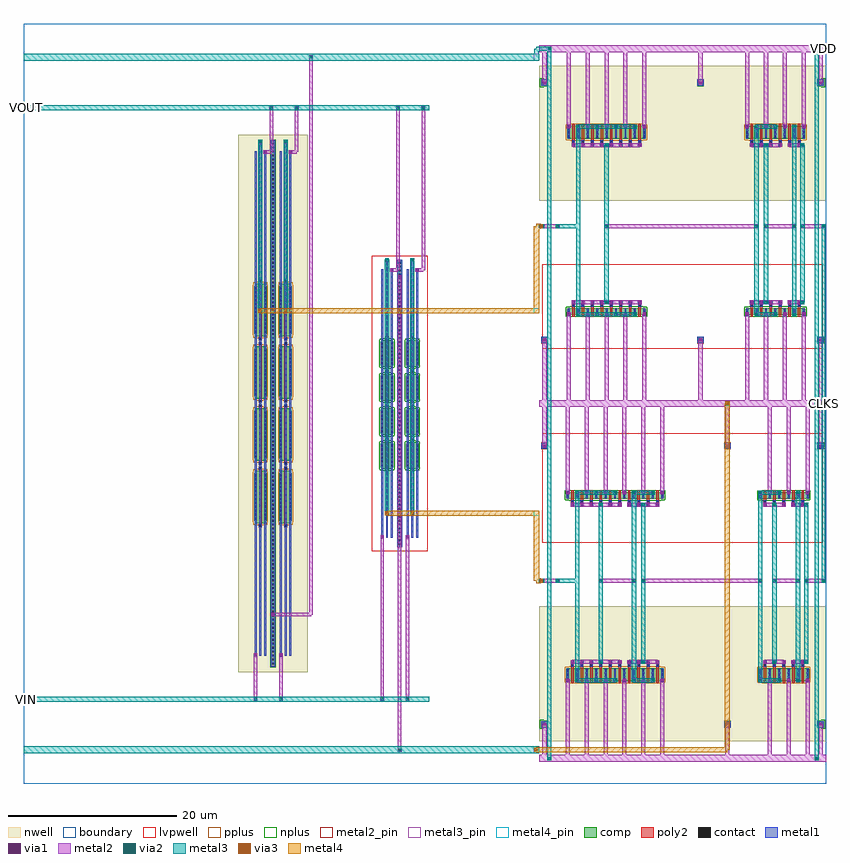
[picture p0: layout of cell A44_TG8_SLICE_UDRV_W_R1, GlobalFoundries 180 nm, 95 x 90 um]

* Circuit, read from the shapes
.subckt A44_TG8_SLICE_UDRV_W_R1 CLKS GND VDD VIN VOUT
XM1 VOUT A44_TG8_CORE_W_R2_1/N_CLK VIN GND nfet_03v3 w=3.11u l=0.28u m=8
XM2 A44_TG8_CORE_W_R2_1/N_CLK A44_TGCLK_DRIVER_UDRV_W_R1_0/A44_TGDRV_NCLK_ROW_W_R1_0/net3 GND GND nfet_03v3 w=0.78u l=0.28u m=6
XM3 A44_TG8_CORE_W_R2_1/P_CLK A44_TGCLK_DRIVER_UDRV_W_R1_0/A44_TGDRV_PCLK_ROW_W_R1_1/net5 GND GND nfet_03v3 w=0.78u l=0.28u m=8
XM4 A44_TGCLK_DRIVER_UDRV_W_R1_0/A44_TGDRV_NCLK_ROW_W_R1_0/net3 A44_TGCLK_DRIVER_UDRV_W_R1_0/A44_TGDRV_NCLK_ROW_W_R1_0/net2 GND GND nfet_03v3 w=0.78u l=0.28u m=4
XM5 A44_TGCLK_DRIVER_UDRV_W_R1_0/A44_TGDRV_PCLK_ROW_W_R1_1/net5 A44_TGCLK_DRIVER_UDRV_W_R1_0/A44_TGDRV_PCLK_ROW_W_R1_1/net4 GND GND nfet_03v3 w=0.78u l=0.28u m=4
XM6 GND A44_TGCLK_DRIVER_UDRV_W_R1_0/A44_TGDRV_NCLK_ROW_W_R1_0/net1 A44_TGCLK_DRIVER_UDRV_W_R1_0/A44_TGDRV_NCLK_ROW_W_R1_0/net2 GND nfet_03v3 w=0.78u l=0.28u m=3
XM7 A44_TGCLK_DRIVER_UDRV_W_R1_0/A44_TGDRV_PCLK_ROW_W_R1_1/net4 CLKS GND GND nfet_03v3 w=0.78u l=0.28u m=2
XM8 A44_TGCLK_DRIVER_UDRV_W_R1_0/A44_TGDRV_NCLK_ROW_W_R1_0/net1 CLKS GND GND nfet_03v3 w=0.78u l=0.28u m=2
XM9 VOUT A44_TG8_CORE_W_R2_1/P_CLK VIN VDD pfet_03v3 w=6.22u l=0.28u m=8
XM10 A44_TG8_CORE_W_R2_1/N_CLK A44_TGCLK_DRIVER_UDRV_W_R1_0/A44_TGDRV_NCLK_ROW_W_R1_0/net3 VDD VDD pfet_03v3 w=1.56u l=0.28u m=6
XM11 A44_TG8_CORE_W_R2_1/P_CLK A44_TGCLK_DRIVER_UDRV_W_R1_0/A44_TGDRV_PCLK_ROW_W_R1_1/net5 VDD VDD pfet_03v3 w=1.56u l=0.28u m=8
XM12 A44_TGCLK_DRIVER_UDRV_W_R1_0/A44_TGDRV_NCLK_ROW_W_R1_0/net3 A44_TGCLK_DRIVER_UDRV_W_R1_0/A44_TGDRV_NCLK_ROW_W_R1_0/net2 VDD VDD pfet_03v3 w=1.56u l=0.28u m=4
XM13 A44_TGCLK_DRIVER_UDRV_W_R1_0/A44_TGDRV_PCLK_ROW_W_R1_1/net5 A44_TGCLK_DRIVER_UDRV_W_R1_0/A44_TGDRV_PCLK_ROW_W_R1_1/net4 VDD VDD pfet_03v3 w=1.56u l=0.28u m=4
XM14 VDD A44_TGCLK_DRIVER_UDRV_W_R1_0/A44_TGDRV_NCLK_ROW_W_R1_0/net1 A44_TGCLK_DRIVER_UDRV_W_R1_0/A44_TGDRV_NCLK_ROW_W_R1_0/net2 VDD pfet_03v3 w=1.56u l=0.28u m=3
XM15 A44_TGCLK_DRIVER_UDRV_W_R1_0/A44_TGDRV_PCLK_ROW_W_R1_1/net4 CLKS VDD VDD pfet_03v3 w=1.56u l=0.28u m=2
XM16 A44_TGCLK_DRIVER_UDRV_W_R1_0/A44_TGDRV_NCLK_ROW_W_R1_0/net1 CLKS VDD VDD pfet_03v3 w=1.56u l=0.28u m=2
.ends

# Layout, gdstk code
import gdstk
lib = gdstk.Library(unit=1e-6, precision=1e-09)
def R(c, l, rs):  # rectangles x0, y0, x1, y1
    for r in rs: c.add(gdstk.rectangle(r[:2], r[2:], *l))
def A(c, l, x, y, w, h, nx, ny, dx, dy):  # array of equal rectangles
    R(c, l, [(x+i*dx, y+j*dy, x+i*dx+w, y+j*dy+h) for i in range(nx) for j in range(ny)])
boundary = (0, 0)
nwell = (21, 0)
comp = (22, 0)
poly2 = (30, 0)
pplus = (31, 0)
nplus = (32, 0)
contact = (33, 0)
metal1 = (34, 0)
via1 = (35, 0)
metal2 = (36, 0)
metal2_pin = (36, 10)
via2 = (38, 0)
via3 = (40, 0)
metal3 = (42, 0)
metal3_pin = (42, 10)
metal4 = (46, 0)
metal4_pin = (46, 10)
lvpwell = (204, 0)

pfet_03v3_pucbrs = lib.new_cell('pfet_03v3_PUCBRS')
R(pfet_03v3_pucbrs, nwell, [(-6.21,-1.55,6.21,1.55)])
R(pfet_03v3_pucbrs, comp, [(-5.715,-0.9,5.715,-0.83), (-5.78,-0.83,5.78,0.59), (-5.715,0.59,5.715,0.66)])
A(pfet_03v3_pucbrs, poly2, -5.18, -1.12, 0.28, 1.88, 10, 1, 1.12, 0)
A(pfet_03v3_pucbrs, poly2, -5.22, 0.76, 0.36, 0.36, 10, 1, 1.12, 0)
R(pfet_03v3_pucbrs, pplus, [(-5.41,-1.13,5.41,-1.06), (-5.875,-1.06,5.875,-0.99), (-5.94,-0.99,5.94,0.75), (-5.875,0.75,5.875,0.82), (-5.41,0.82,5.41,0.89)])
A(pfet_03v3_pucbrs, contact, -5.71, -0.7, 0.22, 0.22, 11, 3, 1.12, 0.47)
A(pfet_03v3_pucbrs, contact, -5.15, 0.83, 0.22, 0.22, 10, 1, 1.12, 0)
A(pfet_03v3_pucbrs, metal1, -5.715, -0.82, 0.23, 1.4, 11, 1, 1.12, 0)
A(pfet_03v3_pucbrs, metal1, -5.21, 0.825, 0.34, 0.23, 10, 1, 1.12, 0)

nfet_03v3_ytq48t = lib.new_cell('nfet_03v3_YTQ48T')
R(nfet_03v3_ytq48t, comp, [(-5.715,-0.27,5.715,-0.24), (-5.78,-0.24,5.78,0.48), (-5.715,0.48,5.715,0.51)])
A(nfet_03v3_ytq48t, poly2, -5.22, -0.73, 0.36, 0.36, 10, 1, 1.12, 0)
A(nfet_03v3_ytq48t, poly2, -5.18, -0.37, 0.28, 1.1, 10, 1, 1.12, 0)
R(nfet_03v3_ytq48t, nplus, [(-5.41,-0.5,5.41,-0.43), (-5.875,-0.43,5.875,-0.4), (-5.94,-0.4,5.94,0.64), (-5.875,0.64,5.875,0.67), (-5.41,0.67,5.41,0.74)])
A(nfet_03v3_ytq48t, contact, -5.15, -0.66, 0.22, 0.22, 10, 1, 1.12, 0)
A(nfet_03v3_ytq48t, contact, -5.71, 0.01, 0.22, 0.22, 11, 1, 1.12, 0)
A(nfet_03v3_ytq48t, metal1, -5.21, -0.665, 0.34, 0.23, 10, 1, 1.12, 0)
A(nfet_03v3_ytq48t, metal1, -5.715, -0.23, 0.23, 0.7, 11, 1, 1.12, 0)
R(nfet_03v3_ytq48t, lvpwell, [(-5.9,-0.85,5.9,0.85)])

pfet_03v3_ttayz7 = lib.new_cell('pfet_03v3_TTAYZ7')
R(pfet_03v3_ttayz7, nwell, [(-3.41,-1.55,3.41,1.55)])
R(pfet_03v3_ttayz7, comp, [(-2.915,-0.9,2.915,-0.83), (-2.98,-0.83,2.98,0.59), (-2.915,0.59,2.915,0.66)])
A(pfet_03v3_ttayz7, poly2, -2.38, -1.12, 0.28, 1.88, 5, 1, 1.12, 0)
A(pfet_03v3_ttayz7, poly2, -2.42, 0.76, 0.36, 0.36, 5, 1, 1.12, 0)
R(pfet_03v3_ttayz7, pplus, [(-2.61,-1.13,2.61,-1.06), (-3.075,-1.06,3.075,-0.99), (-3.14,-0.99,3.14,0.75), (-3.075,0.75,3.075,0.82), (-2.61,0.82,2.61,0.89)])
A(pfet_03v3_ttayz7, contact, -2.91, -0.7, 0.22, 0.22, 6, 3, 1.12, 0.47)
A(pfet_03v3_ttayz7, contact, -2.35, 0.83, 0.22, 0.22, 5, 1, 1.12, 0)
A(pfet_03v3_ttayz7, metal1, -2.915, -0.82, 0.23, 1.4, 6, 1, 1.12, 0)
A(pfet_03v3_ttayz7, metal1, -2.41, 0.825, 0.34, 0.23, 5, 1, 1.12, 0)

nfet_03v3_ytz44f = lib.new_cell('nfet_03v3_YTZ44F')
R(nfet_03v3_ytz44f, comp, [(-2.915,-0.27,2.915,-0.24), (-2.98,-0.24,2.98,0.48), (-2.915,0.48,2.915,0.51)])
A(nfet_03v3_ytz44f, poly2, -2.42, -0.73, 0.36, 0.36, 5, 1, 1.12, 0)
A(nfet_03v3_ytz44f, poly2, -2.38, -0.37, 0.28, 1.1, 5, 1, 1.12, 0)
R(nfet_03v3_ytz44f, nplus, [(-2.61,-0.5,2.61,-0.43), (-3.075,-0.43,3.075,-0.4), (-3.14,-0.4,3.14,0.64), (-3.075,0.64,3.075,0.67), (-2.61,0.67,2.61,0.74)])
A(nfet_03v3_ytz44f, contact, -2.35, -0.66, 0.22, 0.22, 5, 1, 1.12, 0)
A(nfet_03v3_ytz44f, contact, -2.91, 0.01, 0.22, 0.22, 6, 1, 1.12, 0)
A(nfet_03v3_ytz44f, metal1, -2.41, -0.665, 0.34, 0.23, 5, 1, 1.12, 0)
A(nfet_03v3_ytz44f, metal1, -2.915, -0.23, 0.23, 0.7, 6, 1, 1.12, 0)
R(nfet_03v3_ytz44f, lvpwell, [(-3.1,-0.85,3.1,0.85)])

a44_tgdrv_nclk_row_w_r1 = lib.new_cell('A44_TGDRV_NCLK_ROW_W_R1')
R(a44_tgdrv_nclk_row_w_r1, boundary, [(0,0,34,90)])
R(a44_tgdrv_nclk_row_w_r1, nwell, [(0,5,34,21)])
R(a44_tgdrv_nclk_row_w_r1, comp, [(0.27,6.62,1.03,7.38), (21.935,6.62,22.695,7.38), (32.97,6.62,33.73,7.38), (0.27,39.62,1.03,40.38), (21.935,39.62,22.695,40.38), (32.97,39.62,33.73,40.38)])
R(a44_tgdrv_nclk_row_w_r1, pplus, [(0.245,39.595,1.055,40.405), (21.91,39.595,22.72,40.405), (32.945,39.595,33.755,40.405)])
R(a44_tgdrv_nclk_row_w_r1, nplus, [(0.11,6.46,0.59,6.595), (33.41,6.46,33.89,6.595), (0.11,6.595,1.055,7.405), (21.91,6.595,22.72,7.405), (32.945,6.595,33.89,7.405), (0.11,7.405,0.59,7.54), (33.41,7.405,33.89,7.54)])
R(a44_tgdrv_nclk_row_w_r1, contact, [(0.54,6.89,0.76,7.11), (22.205,6.89,22.425,7.11), (33.24,6.89,33.46,7.11), (0.54,39.89,0.76,40.11), (22.205,39.89,22.425,40.11), (33.24,39.89,33.46,40.11)])
A(a44_tgdrv_nclk_row_w_r1, metal1, 3.18, 11.99, 0.44, 0.44, 11, 2, 1.12, 22.235)
A(a44_tgdrv_nclk_row_w_r1, metal1, 25.98, 11.99, 0.44, 0.44, 6, 2, 1.12, 22.235)
A(a44_tgdrv_nclk_row_w_r1, metal1, 3.79, 13.94, 0.34, 0.24, 10, 1, 1.12, 0)
A(a44_tgdrv_nclk_row_w_r1, metal1, 26.59, 13.94, 0.34, 0.24, 5, 1, 1.12, 0)
A(a44_tgdrv_nclk_row_w_r1, metal1, 3.74, 14.18, 0.44, 0.44, 10, 2, 1.12, 18.6)
A(a44_tgdrv_nclk_row_w_r1, metal1, 26.54, 14.18, 0.44, 0.44, 5, 2, 1.12, 18.6)
A(a44_tgdrv_nclk_row_w_r1, metal1, 3.79, 33.22, 0.34, 0.23, 10, 1, 1.12, 0)
A(a44_tgdrv_nclk_row_w_r1, metal1, 26.59, 33.22, 0.34, 0.23, 5, 1, 1.12, 0)
R(a44_tgdrv_nclk_row_w_r1, metal1, [(0.27,6.62,1.03,7.38), (21.935,6.62,22.695,7.38), (32.97,6.62,33.73,7.38), (0.27,39.62,1.03,40.38), (21.935,39.62,22.695,40.38), (32.97,39.62,33.73,40.38)])
A(a44_tgdrv_nclk_row_w_r1, via1, 3.27, 12.08, 0.26, 0.26, 11, 2, 1.12, 22.235)
A(a44_tgdrv_nclk_row_w_r1, via1, 26.07, 12.08, 0.26, 0.26, 6, 2, 1.12, 22.235)
A(a44_tgdrv_nclk_row_w_r1, via1, 3.83, 14.27, 0.26, 0.26, 10, 2, 1.12, 18.6)
A(a44_tgdrv_nclk_row_w_r1, via1, 26.63, 14.27, 0.26, 0.26, 5, 2, 1.12, 18.6)
R(a44_tgdrv_nclk_row_w_r1, via1, [(0.52,6.87,0.78,7.13), (22.185,6.87,22.445,7.13), (33.22,6.87,33.48,7.13), (0.52,39.87,0.78,40.13), (22.185,39.87,22.445,40.13), (33.22,39.87,33.48,40.13)])
A(a44_tgdrv_nclk_row_w_r1, metal2, 3.16, 3.4, 0.48, 8.81, 6, 1, 2.24, 0)
A(a44_tgdrv_nclk_row_w_r1, metal2, 27.08, 3.4, 0.48, 8.81, 3, 1, 2.24, 0)
A(a44_tgdrv_nclk_row_w_r1, metal2, 4.28, 11.97, 0.48, 0.48, 5, 2, 2.24, 22.235)
A(a44_tgdrv_nclk_row_w_r1, metal2, 25.96, 11.97, 0.48, 0.48, 3, 2, 2.24, 22.235)
A(a44_tgdrv_nclk_row_w_r1, metal2, 3.18, 12.21, 0.44, 0.22, 6, 2, 2.24, 22.015)
A(a44_tgdrv_nclk_row_w_r1, metal2, 27.1, 12.21, 0.44, 0.22, 3, 2, 2.24, 22.015)
A(a44_tgdrv_nclk_row_w_r1, metal2, 3.16, 34.445, 0.48, 10.155, 6, 1, 2.24, 0)
A(a44_tgdrv_nclk_row_w_r1, metal2, 27.08, 34.445, 0.48, 10.155, 3, 1, 2.24, 0)
R(a44_tgdrv_nclk_row_w_r1, metal2, [(0,2.6,34,3.4), (0.41,3.4,0.89,7), (22.075,3.4,22.555,7), (33.11,3.4,33.59,7), (0.43,7,0.87,7.22), (22.095,7,22.535,7.22), (33.13,7,33.57,7.22), (3.96,14.16,9.56,14.18), (10.68,14.16,14.04,14.18), (26.76,14.16,29,14.18), (30.12,14.16,31.88,14.18), (3.74,14.18,9.78,14.62), (10.46,14.18,14.26,14.62), (26.54,14.18,29.22,14.62), (29.9,14.18,31.88,14.62), (3.96,14.62,9.56,14.64), (10.68,14.62,14.04,14.64), (26.76,14.62,29,14.64), (30.12,14.62,31.88,14.64), (7.08,23.76,11.48,24.24), (12.12,23.76,26.44,24.24), (27.64,23.76,30.92,24.24), (31.4,23.76,32.4,24.24), (3.96,32.76,9.56,32.78), (10.68,32.76,14.04,32.78), (26.76,32.76,29,32.78), (30.12,32.76,31.88,32.78), (3.74,32.78,9.78,33.22), (10.46,32.78,14.26,33.22), (26.54,32.78,29.22,33.22), (29.9,32.78,31.88,33.22), (3.96,33.22,9.56,33.24), (10.68,33.22,14.04,33.24), (26.76,33.22,29,33.24), (30.12,33.22,31.88,33.24), (0.43,39.78,0.87,40), (22.095,39.78,22.535,40), (33.13,39.78,33.57,40), (0.41,40,0.89,44.6), (22.075,40,22.555,44.6), (33.11,40,33.59,44.6), (0,44.6,34,45.4)])
A(a44_tgdrv_nclk_row_w_r1, via2, 4.39, 12.08, 0.26, 0.26, 5, 2, 2.24, 22.235)
A(a44_tgdrv_nclk_row_w_r1, via2, 26.07, 12.08, 0.26, 0.26, 3, 2, 2.24, 22.235)
R(a44_tgdrv_nclk_row_w_r1, via2, [(7.19,14.27,7.45,14.53), (12.23,14.27,12.49,14.53), (27.75,14.27,28.01,14.53), (31.51,14.27,31.77,14.53), (7.19,23.87,7.45,24.13), (11.11,23.87,11.37,24.13), (12.23,23.87,12.49,24.13), (26.07,23.87,26.33,24.13), (27.75,23.87,28.01,24.13), (30.55,23.87,30.81,24.13), (31.51,23.87,31.77,24.13), (7.19,32.87,7.45,33.13), (12.23,32.87,12.49,33.13), (27.75,32.87,28.01,33.13), (31.51,32.87,31.77,33.13)])
R(a44_tgdrv_nclk_row_w_r1, metal3, [(4.52,11.96,9,11.97), (11.24,11.96,13.48,11.97), (26.2,11.96,28.44,11.97), (4.28,11.97,9.24,12.21), (11,11.97,13.72,12.21), (25.96,11.97,28.68,12.21), (30.44,11.97,30.92,12.21), (4.27,12.21,9.24,12.45), (10.99,12.21,13.72,12.45), (25.95,12.21,28.68,12.45), (30.43,12.21,30.93,34.445), (4.27,12.45,9,12.46), (10.99,12.45,13.48,12.46), (25.95,12.45,28.44,12.46), (4.27,12.46,4.77,23.75), (10.99,12.46,11.49,34.195), (25.95,12.46,26.45,34.195), (7.08,14.16,7.56,14.4), (12.12,14.16,12.6,14.4), (27.64,14.16,28.12,14.4), (31.4,14.16,31.88,14.4), (7.07,14.4,7.57,33), (12.11,14.4,12.61,33), (27.63,14.4,28.13,33), (31.39,14.4,31.89,33), (2.2,23.75,4.77,24.25), (4.27,24.25,4.77,34.195), (7.08,33,7.56,33.24), (12.12,33,12.6,33.24), (27.64,33,28.12,33.24), (31.4,33,31.88,33.24), (4.27,34.195,9,34.205), (10.99,34.195,13.48,34.205), (25.95,34.195,28.44,34.205), (4.27,34.205,9.24,34.445), (10.99,34.205,13.72,34.445), (25.95,34.205,28.68,34.445), (4.28,34.445,9.24,34.685), (11,34.445,13.72,34.685), (25.96,34.445,28.68,34.685), (30.44,34.445,30.92,34.685), (4.52,34.685,9,34.695), (11.24,34.685,13.48,34.695), (26.2,34.685,28.44,34.695)])
R(a44_tgdrv_nclk_row_w_r1, lvpwell, [(0.4,28.5,33.6,41.5)])
a44_tgdrv_nclk_row_w_r1.add(gdstk.Reference(pfet_03v3_pucbrs, (9,13)))
a44_tgdrv_nclk_row_w_r1.add(gdstk.Reference(nfet_03v3_ytq48t, (9,34)))
a44_tgdrv_nclk_row_w_r1.add(gdstk.Reference(pfet_03v3_ttayz7, (29,13)))
a44_tgdrv_nclk_row_w_r1.add(gdstk.Reference(nfet_03v3_ytz44f, (29,34)))
a44_tgdrv_nclk_row_w_r1.add(gdstk.Label('net1', (29.28,24), layer=36, texttype=0))
a44_tgdrv_nclk_row_w_r1.add(gdstk.Label('net2', (19.28,24), layer=36, texttype=0))
a44_tgdrv_nclk_row_w_r1.add(gdstk.Label('net3', (9.28,24), layer=36, texttype=0))
a44_tgdrv_nclk_row_w_r1.add(gdstk.Label('CLKS', (32.35,24), layer=36, texttype=0))
a44_tgdrv_nclk_row_w_r1.add(gdstk.Label('VDD', (17,3), layer=36, texttype=0))
a44_tgdrv_nclk_row_w_r1.add(gdstk.Label('GND', (17,45), layer=36, texttype=0))
a44_tgdrv_nclk_row_w_r1.add(gdstk.Label('CLKS', (31.64,23.7), layer=42, texttype=0))
a44_tgdrv_nclk_row_w_r1.add(gdstk.Label('net1', (30.68,23.325), layer=42, texttype=0))
a44_tgdrv_nclk_row_w_r1.add(gdstk.Label('net1', (27.88,23.7), layer=42, texttype=0))
a44_tgdrv_nclk_row_w_r1.add(gdstk.Label('net2', (26.2,23.325), layer=42, texttype=0))
a44_tgdrv_nclk_row_w_r1.add(gdstk.Label('net2', (12.36,23.7), layer=42, texttype=0))
a44_tgdrv_nclk_row_w_r1.add(gdstk.Label('net3', (11.24,23.325), layer=42, texttype=0))
a44_tgdrv_nclk_row_w_r1.add(gdstk.Label('net3', (7.32,23.7), layer=42, texttype=0))
a44_tgdrv_nclk_row_w_r1.add(gdstk.Label('N_CLK', (4.52,23.325), layer=42, texttype=0))
a44_tgdrv_nclk_row_w_r1.add(gdstk.Label('N_CLK', (2.25,24), layer=42, texttype=0))

pfet_03v3_fkha32 = lib.new_cell('pfet_03v3_FKHA32')
R(pfet_03v3_fkha32, nwell, [(-5.09,-1.55,5.09,1.55)])
R(pfet_03v3_fkha32, comp, [(-4.595,-0.66,4.595,-0.59), (-4.66,-0.59,4.66,0.83), (-4.595,0.83,4.595,0.9)])
A(pfet_03v3_fkha32, poly2, -4.1, -1.12, 0.36, 0.36, 8, 1, 1.12, 0)
A(pfet_03v3_fkha32, poly2, -4.06, -0.76, 0.28, 1.88, 8, 1, 1.12, 0)
R(pfet_03v3_fkha32, pplus, [(-4.29,-0.89,4.29,-0.82), (-4.755,-0.82,4.755,-0.75), (-4.82,-0.75,4.82,0.99), (-4.755,0.99,4.755,1.06), (-4.29,1.06,4.29,1.13)])
A(pfet_03v3_fkha32, contact, -4.03, -1.05, 0.22, 0.22, 8, 1, 1.12, 0)
A(pfet_03v3_fkha32, contact, -4.59, -0.46, 0.22, 0.22, 9, 3, 1.12, 0.47)
A(pfet_03v3_fkha32, metal1, -4.09, -1.055, 0.34, 0.23, 8, 1, 1.12, 0)
A(pfet_03v3_fkha32, metal1, -4.595, -0.58, 0.23, 1.4, 9, 1, 1.12, 0)

nfet_03v3_ge79xy = lib.new_cell('nfet_03v3_GE79XY')
R(nfet_03v3_ge79xy, comp, [(-4.595,-0.51,4.595,-0.48), (-4.66,-0.48,4.66,0.24), (-4.595,0.24,4.595,0.27)])
A(nfet_03v3_ge79xy, poly2, -4.06, -0.73, 0.28, 1.1, 8, 1, 1.12, 0)
A(nfet_03v3_ge79xy, poly2, -4.1, 0.37, 0.36, 0.36, 8, 1, 1.12, 0)
R(nfet_03v3_ge79xy, nplus, [(-4.29,-0.74,4.29,-0.67), (-4.755,-0.67,4.755,-0.64), (-4.82,-0.64,4.82,0.4), (-4.755,0.4,4.755,0.43), (-4.29,0.43,4.29,0.5)])
A(nfet_03v3_ge79xy, contact, -4.59, -0.23, 0.22, 0.22, 9, 1, 1.12, 0)
A(nfet_03v3_ge79xy, contact, -4.03, 0.44, 0.22, 0.22, 8, 1, 1.12, 0)
A(nfet_03v3_ge79xy, metal1, -4.595, -0.47, 0.23, 0.7, 9, 1, 1.12, 0)
A(nfet_03v3_ge79xy, metal1, -4.09, 0.435, 0.34, 0.23, 8, 1, 1.12, 0)
R(nfet_03v3_ge79xy, lvpwell, [(-4.78,-0.85,4.78,0.85)])

pfet_03v3_x2n4nu = lib.new_cell('pfet_03v3_X2N4NU')
R(pfet_03v3_x2n4nu, nwell, [(-3.97,-1.55,3.97,1.55)])
R(pfet_03v3_x2n4nu, comp, [(-3.475,-0.66,3.475,-0.59), (-3.54,-0.59,3.54,0.83), (-3.475,0.83,3.475,0.9)])
A(pfet_03v3_x2n4nu, poly2, -2.98, -1.12, 0.36, 0.36, 6, 1, 1.12, 0)
A(pfet_03v3_x2n4nu, poly2, -2.94, -0.76, 0.28, 1.88, 6, 1, 1.12, 0)
R(pfet_03v3_x2n4nu, pplus, [(-3.17,-0.89,3.17,-0.82), (-3.635,-0.82,3.635,-0.75), (-3.7,-0.75,3.7,0.99), (-3.635,0.99,3.635,1.06), (-3.17,1.06,3.17,1.13)])
A(pfet_03v3_x2n4nu, contact, -2.91, -1.05, 0.22, 0.22, 6, 1, 1.12, 0)
A(pfet_03v3_x2n4nu, contact, -3.47, -0.46, 0.22, 0.22, 7, 3, 1.12, 0.47)
A(pfet_03v3_x2n4nu, metal1, -2.97, -1.055, 0.34, 0.23, 6, 1, 1.12, 0)
A(pfet_03v3_x2n4nu, metal1, -3.475, -0.58, 0.23, 1.4, 7, 1, 1.12, 0)

nfet_03v3_9hsg6m = lib.new_cell('nfet_03v3_9HSG6M')
R(nfet_03v3_9hsg6m, comp, [(-3.475,-0.51,3.475,-0.48), (-3.54,-0.48,3.54,0.24), (-3.475,0.24,3.475,0.27)])
A(nfet_03v3_9hsg6m, poly2, -2.94, -0.73, 0.28, 1.1, 6, 1, 1.12, 0)
A(nfet_03v3_9hsg6m, poly2, -2.98, 0.37, 0.36, 0.36, 6, 1, 1.12, 0)
R(nfet_03v3_9hsg6m, nplus, [(-3.17,-0.74,3.17,-0.67), (-3.635,-0.67,3.635,-0.64), (-3.7,-0.64,3.7,0.4), (-3.635,0.4,3.635,0.43), (-3.17,0.43,3.17,0.5)])
A(nfet_03v3_9hsg6m, contact, -3.47, -0.23, 0.22, 0.22, 7, 1, 1.12, 0)
A(nfet_03v3_9hsg6m, contact, -2.91, 0.44, 0.22, 0.22, 6, 1, 1.12, 0)
A(nfet_03v3_9hsg6m, metal1, -3.475, -0.47, 0.23, 0.7, 7, 1, 1.12, 0)
A(nfet_03v3_9hsg6m, metal1, -2.97, 0.435, 0.34, 0.23, 6, 1, 1.12, 0)
R(nfet_03v3_9hsg6m, lvpwell, [(-3.66,-0.85,3.66,0.85)])

a44_tgdrv_pclk_row_w_r1 = lib.new_cell('A44_TGDRV_PCLK_ROW_W_R1')
R(a44_tgdrv_pclk_row_w_r1, boundary, [(0,0,34,90)])
R(a44_tgdrv_pclk_row_w_r1, nwell, [(0,69,34,85)])
R(a44_tgdrv_pclk_row_w_r1, comp, [(0.27,52.12,1.03,52.88), (18.745,52.12,19.505,52.88), (32.97,52.12,33.73,52.88), (0.27,82.62,1.03,83.38), (18.745,82.62,19.505,83.38), (32.97,82.62,33.73,83.38)])
R(a44_tgdrv_pclk_row_w_r1, pplus, [(0.245,52.095,1.055,52.905), (18.72,52.095,19.53,52.905), (32.945,52.095,33.755,52.905)])
R(a44_tgdrv_pclk_row_w_r1, nplus, [(0.11,82.46,0.59,82.595), (33.41,82.46,33.89,82.595), (0.11,82.595,1.055,83.405), (18.72,82.595,19.53,83.405), (32.945,82.595,33.89,83.405), (0.11,83.405,0.59,83.54), (33.41,83.405,33.89,83.54)])
R(a44_tgdrv_pclk_row_w_r1, contact, [(0.54,52.39,0.76,52.61), (19.015,52.39,19.235,52.61), (33.24,52.39,33.46,52.61), (0.54,82.89,0.76,83.11), (19.015,82.89,19.235,83.11), (33.24,82.89,33.46,83.11)])
A(a44_tgdrv_pclk_row_w_r1, metal1, 3.3, 55.34, 0.44, 0.44, 9, 2, 1.12, 22.235)
A(a44_tgdrv_pclk_row_w_r1, metal1, 24.42, 55.34, 0.44, 0.44, 7, 2, 1.12, 22.235)
A(a44_tgdrv_pclk_row_w_r1, metal1, 3.91, 56.55, 0.34, 0.23, 8, 1, 1.12, 0)
A(a44_tgdrv_pclk_row_w_r1, metal1, 25.03, 56.55, 0.34, 0.23, 6, 1, 1.12, 0)
A(a44_tgdrv_pclk_row_w_r1, metal1, 3.86, 56.78, 0.44, 0.44, 8, 2, 1.12, 18.6)
A(a44_tgdrv_pclk_row_w_r1, metal1, 24.98, 56.78, 0.44, 0.44, 6, 2, 1.12, 18.6)
A(a44_tgdrv_pclk_row_w_r1, metal1, 3.91, 75.82, 0.34, 0.24, 8, 1, 1.12, 0)
A(a44_tgdrv_pclk_row_w_r1, metal1, 25.03, 75.82, 0.34, 0.24, 6, 1, 1.12, 0)
R(a44_tgdrv_pclk_row_w_r1, metal1, [(0.27,52.12,1.03,52.88), (18.745,52.12,19.505,52.88), (32.97,52.12,33.73,52.88), (0.27,82.62,1.03,83.38), (18.745,82.62,19.505,83.38), (32.97,82.62,33.73,83.38)])
A(a44_tgdrv_pclk_row_w_r1, via1, 3.39, 55.43, 0.26, 0.26, 9, 2, 1.12, 22.235)
A(a44_tgdrv_pclk_row_w_r1, via1, 24.51, 55.43, 0.26, 0.26, 7, 2, 1.12, 22.235)
A(a44_tgdrv_pclk_row_w_r1, via1, 3.95, 56.87, 0.26, 0.26, 8, 2, 1.12, 18.6)
A(a44_tgdrv_pclk_row_w_r1, via1, 25.07, 56.87, 0.26, 0.26, 6, 2, 1.12, 18.6)
R(a44_tgdrv_pclk_row_w_r1, via1, [(0.52,52.37,0.78,52.63), (18.995,52.37,19.255,52.63), (33.22,52.37,33.48,52.63), (0.52,82.87,0.78,83.13), (18.995,82.87,19.255,83.13), (33.22,82.87,33.48,83.13)])
A(a44_tgdrv_pclk_row_w_r1, metal2, 3.28, 45.4, 0.48, 10.16, 5, 1, 2.24, 0)
A(a44_tgdrv_pclk_row_w_r1, metal2, 24.4, 45.4, 0.48, 10.16, 4, 1, 2.24, 0)
A(a44_tgdrv_pclk_row_w_r1, metal2, 4.4, 55.32, 0.48, 0.48, 4, 2, 2.24, 22.235)
A(a44_tgdrv_pclk_row_w_r1, metal2, 25.52, 55.32, 0.48, 0.48, 3, 2, 2.24, 22.235)
A(a44_tgdrv_pclk_row_w_r1, metal2, 3.3, 55.56, 0.44, 0.22, 5, 2, 2.24, 22.015)
A(a44_tgdrv_pclk_row_w_r1, metal2, 24.42, 55.56, 0.44, 0.22, 4, 2, 2.24, 22.015)
A(a44_tgdrv_pclk_row_w_r1, metal2, 3.28, 77.795, 0.48, 8.805, 5, 1, 2.24, 0)
A(a44_tgdrv_pclk_row_w_r1, metal2, 24.4, 77.795, 0.48, 8.805, 4, 1, 2.24, 0)
R(a44_tgdrv_pclk_row_w_r1, metal2, [(0,44.6,34,45.4), (0.41,45.4,0.89,52.5), (18.885,45.4,19.365,52.5), (33.11,45.4,33.59,52.5), (0.43,52.5,0.87,52.72), (18.905,52.5,19.345,52.72), (33.13,52.5,33.57,52.72), (4.08,56.76,11.92,56.78), (25.2,56.76,28.56,56.78), (29.68,56.76,31.44,56.78), (3.86,56.78,12.14,57.22), (24.98,56.78,28.78,57.22), (29.46,56.78,31.44,57.22), (4.08,57.22,11.92,57.24), (25.2,57.22,28.56,57.24), (29.68,57.22,31.44,57.24), (7.76,65.76,26,66.24), (26.64,65.76,30.48,66.24), (30.96,65.76,32.4,66.24), (4.08,75.36,11.92,75.38), (25.2,75.36,28.56,75.38), (29.68,75.36,31.44,75.38), (3.86,75.38,12.14,75.82), (24.98,75.38,28.78,75.82), (29.46,75.38,31.44,75.82), (4.08,75.82,11.92,75.84), (25.2,75.82,28.56,75.84), (29.68,75.82,31.44,75.84), (0.43,82.78,0.87,83), (18.905,82.78,19.345,83), (33.13,82.78,33.57,83), (0.41,83,0.89,86.6), (18.885,83,19.365,86.6), (33.11,83,33.59,86.6), (0,86.6,34,87.4)])
A(a44_tgdrv_pclk_row_w_r1, via2, 4.51, 55.43, 0.26, 0.26, 4, 2, 2.24, 22.235)
A(a44_tgdrv_pclk_row_w_r1, via2, 25.63, 55.43, 0.26, 0.26, 3, 2, 2.24, 22.235)
R(a44_tgdrv_pclk_row_w_r1, via2, [(7.87,56.87,8.13,57.13), (26.75,56.87,27.01,57.13), (31.07,56.87,31.33,57.13), (7.87,65.87,8.13,66.13), (25.63,65.87,25.89,66.13), (26.75,65.87,27.01,66.13), (30.11,65.87,30.37,66.13), (31.07,65.87,31.33,66.13), (7.87,75.47,8.13,75.73), (26.75,75.47,27.01,75.73), (31.07,75.47,31.33,75.73)])
R(a44_tgdrv_pclk_row_w_r1, metal3, [(4.64,55.31,11.36,55.32), (25.76,55.31,28,55.32), (4.4,55.32,11.6,55.56), (25.52,55.32,28.24,55.56), (30,55.32,30.48,55.56), (4.39,55.56,11.6,55.8), (25.51,55.56,28.24,55.8), (29.99,55.56,30.49,77.795), (4.39,55.8,11.36,55.81), (25.51,55.8,28,55.81), (4.39,55.81,4.89,65.75), (25.51,55.81,26.01,77.545), (7.76,56.76,8.24,57), (26.64,56.76,27.12,57), (30.96,56.76,31.44,57), (7.75,57,8.25,75.6), (26.63,57,27.13,75.6), (30.95,57,31.45,75.6), (2.2,65.75,4.89,66.25), (4.39,66.25,4.89,77.545), (7.76,75.6,8.24,75.84), (26.64,75.6,27.12,75.84), (30.96,75.6,31.44,75.84), (4.39,77.545,11.36,77.555), (25.51,77.545,28,77.555), (4.39,77.555,11.6,77.795), (25.51,77.555,28.24,77.795), (4.4,77.795,11.6,78.035), (25.52,77.795,28.24,78.035), (30,77.795,30.48,78.035), (4.64,78.035,11.36,78.045), (25.76,78.035,28,78.045)])
R(a44_tgdrv_pclk_row_w_r1, lvpwell, [(0.4,51.5,33.6,61.5)])
a44_tgdrv_pclk_row_w_r1.add(gdstk.Reference(pfet_03v3_fkha32, (8,77)))
a44_tgdrv_pclk_row_w_r1.add(gdstk.Reference(nfet_03v3_ge79xy, (8,56)))
a44_tgdrv_pclk_row_w_r1.add(gdstk.Reference(pfet_03v3_x2n4nu, (28,77)))
a44_tgdrv_pclk_row_w_r1.add(gdstk.Reference(nfet_03v3_9hsg6m, (28,56)))
a44_tgdrv_pclk_row_w_r1.add(gdstk.Label('net4', (28.56,66), layer=36, texttype=0))
a44_tgdrv_pclk_row_w_r1.add(gdstk.Label('net5', (16.88,66), layer=36, texttype=0))
a44_tgdrv_pclk_row_w_r1.add(gdstk.Label('CLKS', (32.35,66), layer=36, texttype=0))
a44_tgdrv_pclk_row_w_r1.add(gdstk.Label('VDD', (17,87), layer=36, texttype=0))
a44_tgdrv_pclk_row_w_r1.add(gdstk.Label('GND', (17,45), layer=36, texttype=0))
a44_tgdrv_pclk_row_w_r1.add(gdstk.Label('CLKS', (31.2,66.3), layer=42, texttype=0))
a44_tgdrv_pclk_row_w_r1.add(gdstk.Label('net4', (30.24,66.675), layer=42, texttype=0))
a44_tgdrv_pclk_row_w_r1.add(gdstk.Label('net4', (26.88,66.3), layer=42, texttype=0))
a44_tgdrv_pclk_row_w_r1.add(gdstk.Label('net5', (25.76,66.675), layer=42, texttype=0))
a44_tgdrv_pclk_row_w_r1.add(gdstk.Label('net5', (8,66.3), layer=42, texttype=0))
a44_tgdrv_pclk_row_w_r1.add(gdstk.Label('P_CLK', (4.64,66.675), layer=42, texttype=0))
a44_tgdrv_pclk_row_w_r1.add(gdstk.Label('P_CLK', (2.25,66), layer=42, texttype=0))

a44_tgclk_driver_udrv_w_ = lib.new_cell('A44_TGCLK_DRIVER_UDRV_W_R1')
R(a44_tgclk_driver_udrv_w_, boundary, [(0,0,34,90)])
R(a44_tgclk_driver_udrv_w_, metal2, [(0.96,2.76,1.44,3.24), (32.66,2.76,33.14,3.24), (0.16,23.76,2.44,24.24), (32.4,23.76,33.94,24.24), (33.4,44.6,34,45.4), (0.16,65.76,2.44,66.24), (32.4,65.76,33.94,66.24), (33.4,86.6,34,87.4), (0.96,86.76,1.44,87.24), (32.66,86.76,33.14,87.24)])
R(a44_tgclk_driver_udrv_w_, metal2_pin, [(33.4,44.6,34,45.4), (33.4,86.6,34,87.4)])
R(a44_tgclk_driver_udrv_w_, via2, [(1.07,2.87,1.33,3.13), (32.77,2.87,33.03,3.13), (0.27,23.87,0.53,24.13), (2.07,23.87,2.33,24.13), (33.57,23.87,33.83,24.13), (0.27,65.87,0.53,66.13), (2.07,65.87,2.33,66.13), (33.57,65.87,33.83,66.13), (1.07,86.87,1.33,87.13), (32.77,86.87,33.03,87.13)])
R(a44_tgclk_driver_udrv_w_, metal3, [(0.96,2.76,1.44,3), (32.66,2.76,33.14,3), (0.95,3,1.45,87), (32.65,3,33.15,87), (0,23.75,0.4,23.76), (0,23.76,0.64,24.24), (1.96,23.76,2.44,24.24), (33.46,23.76,33.94,24.24), (0,24.24,0.4,24.25), (33.5,24.24,33.9,44.8), (33.5,44.8,34,45.2), (33.5,45.2,33.9,65.76), (0,65.75,0.4,65.76), (0,65.76,0.64,66.24), (1.96,65.76,2.44,66.24), (33.46,65.76,33.94,66.24), (0,66.24,0.4,66.25), (0.96,87,1.44,87.24), (32.66,87,33.14,87.24)])
R(a44_tgclk_driver_udrv_w_, metal3_pin, [(0,23.8,0.4,24.2), (33.6,44.8,34,45.2), (0,65.8,0.4,66.2)])
a44_tgclk_driver_udrv_w_.add(gdstk.Reference(a44_tgdrv_nclk_row_w_r1, (0,0)))
a44_tgclk_driver_udrv_w_.add(gdstk.Reference(a44_tgdrv_pclk_row_w_r1, (0,0)))
a44_tgclk_driver_udrv_w_.add(gdstk.Label('VDD', (17,3), layer=36, texttype=0))
a44_tgclk_driver_udrv_w_.add(gdstk.Label('VDD', (17,87), layer=36, texttype=0))
a44_tgclk_driver_udrv_w_.add(gdstk.Label('GND', (17,45), layer=36, texttype=0))
a44_tgclk_driver_udrv_w_.add(gdstk.Label('CLKS', (33.8,45), layer=42, texttype=10))
a44_tgclk_driver_udrv_w_.add(gdstk.Label('N_CLK', (0.2,24), layer=42, texttype=10))
a44_tgclk_driver_udrv_w_.add(gdstk.Label('P_CLK', (0.2,66), layer=42, texttype=10))
a44_tgclk_driver_udrv_w_.add(gdstk.Label('VDD', (33.7,87), layer=36, texttype=10))
a44_tgclk_driver_udrv_w_.add(gdstk.Label('GND', (33.7,45), layer=36, texttype=10))

pfet_03v3_c2l3t7 = lib.new_cell('pfet_03v3_C2L3T7')
R(pfet_03v3_c2l3t7, nwell, [(-1.17,-15.07,1.17,15.07)])
A(pfet_03v3_c2l3t7, comp, -0.74, -13.875, 1.48, 5.61, 1, 4, 0, 7.38)
R(pfet_03v3_c2l3t7, comp, [(-0.675,-14.18,0.675,-13.875), (-0.675,-8.265,0.675,-7.96), (-0.675,-6.8,0.675,-6.495), (-0.675,-0.885,0.675,-0.58), (-0.675,0.58,0.675,0.885), (-0.675,6.495,0.675,6.8), (-0.675,7.96,0.675,8.265), (-0.675,13.875,0.675,14.18)])
A(pfet_03v3_c2l3t7, poly2, -0.14, -14.28, 0.28, 6.42, 1, 4, 0, 7.38)
R(pfet_03v3_c2l3t7, poly2, [(-0.18,-14.64,0.18,-14.28), (-0.18,-7.86,0.18,-7.5), (-0.18,-7.26,0.18,-6.9), (-0.18,-0.48,0.18,-0.12), (-0.18,0.12,0.18,0.48), (-0.18,6.9,0.18,7.26), (-0.18,7.5,0.18,7.86), (-0.18,14.28,0.18,14.64)])
A(pfet_03v3_c2l3t7, pplus, -0.9, -14.035, 1.8, 5.93, 1, 4, 0, 7.38)
R(pfet_03v3_c2l3t7, pplus, [(-0.37,-14.41,0.37,-14.34), (-0.835,-14.34,0.835,-14.035), (-0.835,-8.105,0.835,-7.8), (-0.37,-7.8,0.37,-7.73), (-0.37,-7.03,0.37,-6.96), (-0.835,-6.96,0.835,-6.655), (-0.835,-0.725,0.835,-0.42), (-0.37,-0.42,0.37,-0.35), (-0.37,0.35,0.37,0.42), (-0.835,0.42,0.835,0.725), (-0.835,6.655,0.835,6.96), (-0.37,6.96,0.37,7.03), (-0.37,7.73,0.37,7.8), (-0.835,7.8,0.835,8.105), (-0.835,14.035,0.835,14.34), (-0.37,14.34,0.37,14.41)])
A(pfet_03v3_c2l3t7, contact, -0.67, -13.765, 0.22, 0.22, 1, 12, 0, 0.47)
A(pfet_03v3_c2l3t7, contact, 0.45, -13.765, 0.22, 0.22, 1, 12, 0, 0.47)
A(pfet_03v3_c2l3t7, contact, -0.67, -6.385, 0.22, 0.22, 1, 12, 0, 0.47)
A(pfet_03v3_c2l3t7, contact, 0.45, -6.385, 0.22, 0.22, 1, 12, 0, 0.47)
A(pfet_03v3_c2l3t7, contact, -0.67, 0.995, 0.22, 0.22, 1, 12, 0, 0.47)
A(pfet_03v3_c2l3t7, contact, 0.45, 0.995, 0.22, 0.22, 1, 12, 0, 0.47)
A(pfet_03v3_c2l3t7, contact, -0.67, 8.375, 0.22, 0.22, 1, 12, 0, 0.47)
A(pfet_03v3_c2l3t7, contact, 0.45, 8.375, 0.22, 0.22, 1, 12, 0, 0.47)
R(pfet_03v3_c2l3t7, contact, [(-0.11,-14.57,0.11,-14.35), (-0.11,-7.79,0.11,-7.57), (-0.11,-7.19,0.11,-6.97), (-0.11,-0.41,0.11,-0.19), (-0.11,0.19,0.11,0.41), (-0.11,6.97,0.11,7.19), (-0.11,7.57,0.11,7.79), (-0.11,14.35,0.11,14.57)])
A(pfet_03v3_c2l3t7, metal1, -0.675, -13.865, 0.23, 5.59, 1, 4, 0, 7.38)
A(pfet_03v3_c2l3t7, metal1, 0.445, -13.865, 0.23, 5.59, 1, 4, 0, 7.38)
R(pfet_03v3_c2l3t7, metal1, [(-0.17,-14.575,0.17,-14.345), (-0.17,-7.795,0.17,-7.565), (-0.17,-7.195,0.17,-6.965), (-0.17,-0.415,0.17,-0.185), (-0.17,0.185,0.17,0.415), (-0.17,6.965,0.17,7.195), (-0.17,7.565,0.17,7.795), (-0.17,14.345,0.17,14.575)])

nfet_03v3_sd8hjt = lib.new_cell('nfet_03v3_SD8HJT')
A(nfet_03v3_sd8hjt, comp, -0.74, -7.57, 1.48, 2.81, 1, 4, 0, 4.03)
R(nfet_03v3_sd8hjt, comp, [(-0.675,-7.72,0.675,-7.57), (-0.675,-4.76,0.675,-4.61), (-0.675,-3.69,0.675,-3.54), (-0.675,-0.73,0.675,-0.58), (-0.675,0.34,0.675,0.49), (-0.675,3.3,0.675,3.45), (-0.675,4.37,0.675,4.52), (-0.675,7.33,0.675,7.48)])
A(nfet_03v3_sd8hjt, poly2, -0.14, -7.94, 0.28, 3.43, 1, 4, 0, 4.03)
A(nfet_03v3_sd8hjt, poly2, -0.18, -4.51, 0.36, 0.36, 1, 4, 0, 4.03)
A(nfet_03v3_sd8hjt, nplus, -0.9, -7.73, 1.8, 3.13, 1, 4, 0, 4.03)
R(nfet_03v3_sd8hjt, nplus, [(-0.37,-7.95,0.37,-7.88), (-0.835,-7.88,0.835,-7.73), (-0.835,-4.6,0.835,-4.45), (-0.37,-4.45,0.37,-4.38), (-0.37,-3.92,0.37,-3.85), (-0.835,-3.85,0.835,-3.7), (-0.835,-0.57,0.835,-0.42), (-0.37,-0.42,0.37,-0.35), (-0.37,0.11,0.37,0.18), (-0.835,0.18,0.835,0.33), (-0.835,3.46,0.835,3.61), (-0.37,3.61,0.37,3.68), (-0.37,4.14,0.37,4.21), (-0.835,4.21,0.835,4.36), (-0.835,7.49,0.835,7.64), (-0.37,7.64,0.37,7.71)])
A(nfet_03v3_sd8hjt, contact, -0.67, -7.45, 0.22, 0.22, 1, 6, 0, 0.47)
A(nfet_03v3_sd8hjt, contact, 0.45, -7.45, 0.22, 0.22, 1, 6, 0, 0.47)
A(nfet_03v3_sd8hjt, contact, -0.11, -4.44, 0.22, 0.22, 1, 4, 0, 4.03)
A(nfet_03v3_sd8hjt, contact, -0.67, -3.42, 0.22, 0.22, 1, 6, 0, 0.47)
A(nfet_03v3_sd8hjt, contact, 0.45, -3.42, 0.22, 0.22, 1, 6, 0, 0.47)
A(nfet_03v3_sd8hjt, contact, -0.67, 0.61, 0.22, 0.22, 1, 6, 0, 0.47)
A(nfet_03v3_sd8hjt, contact, 0.45, 0.61, 0.22, 0.22, 1, 6, 0, 0.47)
A(nfet_03v3_sd8hjt, contact, -0.67, 4.64, 0.22, 0.22, 1, 6, 0, 0.47)
A(nfet_03v3_sd8hjt, contact, 0.45, 4.64, 0.22, 0.22, 1, 6, 0, 0.47)
A(nfet_03v3_sd8hjt, metal1, -0.675, -7.56, 0.23, 2.79, 1, 4, 0, 4.03)
A(nfet_03v3_sd8hjt, metal1, 0.445, -7.56, 0.23, 2.79, 1, 4, 0, 4.03)
A(nfet_03v3_sd8hjt, metal1, -0.17, -4.445, 0.34, 0.23, 1, 4, 0, 4.03)
R(nfet_03v3_sd8hjt, lvpwell, [(-0.86,-8.06,0.86,8.06)])

a44_tg8_core_w_r2 = lib.new_cell('A44_TG8_CORE_W_R2')
R(a44_tg8_core_w_r2, boundary, [(0,0,61,90)])
R(a44_tg8_core_w_r2, nwell, [(25.4,13.2,33.6,76.8)])
R(a44_tg8_core_w_r2, comp, [(29.22,13.8,29.78,76.2), (44.22,28,44.78,62)])
R(a44_tg8_core_w_r2, pplus, [(44.195,27.975,44.805,62.025)])
R(a44_tg8_core_w_r2, nplus, [(29.195,13.775,29.805,76.225)])
A(a44_tg8_core_w_r2, contact, 29.39, 14.105, 0.22, 0.22, 1, 132, 0, 0.47)
A(a44_tg8_core_w_r2, contact, 44.39, 28.205, 0.22, 0.22, 1, 72, 0, 0.47)
R(a44_tg8_core_w_r2, metal1, [(29.22,13.8,29.78,76.2), (27.24,15,27.64,15.4), (30.24,15,30.64,15.4), (27.885,15.1,28.115,75.8), (28.445,15.1,28.675,74.6), (30.885,15.1,31.115,75.8), (31.445,15.1,31.675,74.6), (27.325,15.4,27.555,74.9), (30.325,15.4,30.555,74.9), (44.22,28,44.78,62), (42.24,29,42.64,29.4), (45.24,29,45.64,29.4), (42.885,29.1,43.115,61.8), (43.445,29.1,43.675,60.6), (45.885,29.1,46.115,61.8), (46.445,29.1,46.675,60.6), (42.325,29.4,42.555,60.9), (45.325,29.4,45.555,60.9), (43.36,60.6,43.76,61), (46.36,60.6,46.76,61), (42.8,61.8,43.2,62.2), (45.8,61.8,46.2,62.2), (28.36,74.6,28.76,75), (31.36,74.6,31.76,75), (27.8,75.8,28.2,76.2), (30.8,75.8,31.2,76.2)])
R(a44_tg8_core_w_r2, via1, [(27.31,15.07,27.57,15.33), (30.31,15.07,30.57,15.33), (29.37,19.87,29.63,20.13), (42.31,29.07,42.57,29.33), (45.31,29.07,45.57,29.33), (44.37,59.87,44.63,60.13), (43.43,60.67,43.69,60.93), (46.43,60.67,46.69,60.93), (42.87,61.87,43.13,62.13), (45.87,61.87,46.13,62.13), (28.43,74.67,28.69,74.93), (31.43,74.67,31.69,74.93), (27.87,75.87,28.13,76.13), (30.87,75.87,31.13,76.13)])
R(a44_tg8_core_w_r2, metal2, [(44.28,3.78,44.72,4.22), (44.3,4.22,44.7,60.2), (27.22,9.78,27.66,10.22), (30.22,9.78,30.66,10.22), (42.22,9.78,42.66,10.22), (45.22,9.78,45.66,10.22), (27.24,10.22,27.64,15.4), (30.24,10.22,30.64,15.4), (42.24,10.22,42.64,29.4), (45.24,10.22,45.64,29.4), (29.3,19.8,34,20), (29.3,20,34.2,20.2), (33.8,20.2,34.2,85.78), (43.36,60.6,44.3,60.8), (46.36,60.6,47.3,60.8), (43.36,60.8,44.5,61), (46.36,60.8,47.5,61), (44.1,61,44.5,79.78), (47.1,61,47.5,79.78), (42.78,61.78,43.22,62.22), (45.78,61.78,46.22,62.22), (28.36,74.6,29.3,74.8), (31.36,74.6,32.3,74.8), (28.36,74.8,29.5,75), (31.36,74.8,32.5,75), (29.1,75,29.5,79.78), (32.1,75,32.5,79.78), (27.78,75.78,28.22,76.22), (30.78,75.78,31.22,76.22), (29.08,79.78,29.52,80.22), (32.08,79.78,32.52,80.22), (44.08,79.78,44.52,80.22), (47.08,79.78,47.52,80.22), (33.78,85.78,34.22,86.22)])
R(a44_tg8_core_w_r2, via2, [(44.37,3.87,44.63,4.13), (27.31,9.87,27.57,10.13), (30.31,9.87,30.57,10.13), (42.31,9.87,42.57,10.13), (45.31,9.87,45.57,10.13), (42.87,61.87,43.13,62.13), (45.87,61.87,46.13,62.13), (27.87,75.87,28.13,76.13), (30.87,75.87,31.13,76.13), (29.17,79.87,29.43,80.13), (32.17,79.87,32.43,80.13), (44.17,79.87,44.43,80.13), (47.17,79.87,47.43,80.13), (33.87,85.87,34.13,86.13)])
R(a44_tg8_core_w_r2, via3, [(42.87,31.87,43.13,32.13), (45.87,31.87,46.13,32.13), (27.87,55.87,28.13,56.13), (30.87,55.87,31.13,56.13)])
R(a44_tg8_core_w_r2, metal3, [(0,3.6,61,4.4), (0,9.7,48,10.3), (42.75,31.75,43.25,62), (45.75,31.75,46.25,62), (27.75,55.75,28.25,76), (30.75,55.75,31.25,76), (42.78,62,43.22,62.22), (45.78,62,46.22,62.22), (27.78,76,28.22,76.22), (30.78,76,31.22,76.22), (0,79.7,48,80.3), (0,85.6,61,86.4)])
R(a44_tg8_core_w_r2, metal3_pin, [(60.4,3.6,61,4.4), (0,9.7,0.6,10.3), (0,79.7,0.6,80.3), (60.4,85.6,61,86.4)])
R(a44_tg8_core_w_r2, metal4, [(43,31.7,61,31.75), (42.75,31.75,61,32.25), (43,32.25,61,32.3), (28,55.7,61,55.75), (27.75,55.75,61,56.25), (28,56.25,61,56.3)])
R(a44_tg8_core_w_r2, metal4_pin, [(60.4,31.7,61,32.3), (60.4,55.7,61,56.3)])
R(a44_tg8_core_w_r2, lvpwell, [(41.2,27.5,47.8,62.5)])
a44_tg8_core_w_r2.add(gdstk.Reference(pfet_03v3_c2l3t7, (28,45)))
a44_tg8_core_w_r2.add(gdstk.Reference(pfet_03v3_c2l3t7, (31,45)))
a44_tg8_core_w_r2.add(gdstk.Reference(nfet_03v3_sd8hjt, (43,45)))
a44_tg8_core_w_r2.add(gdstk.Reference(nfet_03v3_sd8hjt, (46,45)))
a44_tg8_core_w_r2.add(gdstk.Label('VDD', (60.7,86), layer=42, texttype=10))
a44_tg8_core_w_r2.add(gdstk.Label('GND', (60.7,4), layer=42, texttype=10))
a44_tg8_core_w_r2.add(gdstk.Label('VOUT', (0.3,80), layer=42, texttype=10))
a44_tg8_core_w_r2.add(gdstk.Label('VIN', (0.3,10), layer=42, texttype=10))
a44_tg8_core_w_r2.add(gdstk.Label('N_CLK', (60.7,32), layer=46, texttype=10))
a44_tg8_core_w_r2.add(gdstk.Label('P_CLK', (60.7,56), layer=46, texttype=10))

a44_tg8_slice_udrv_w_r1 = lib.new_cell('A44_TG8_SLICE_UDRV_W_R1')
R(a44_tg8_slice_udrv_w_r1, boundary, [(0,0,95,90)])
R(a44_tg8_slice_udrv_w_r1, metal2, [(94.4,44.6,95,45.4), (83.075,44.76,83.555,45.24), (94.4,86.6,95,87.4)])
R(a44_tg8_slice_udrv_w_r1, metal2_pin, [(94.4,44.6,95,45.4), (94.4,86.6,95,87.4)])
R(a44_tg8_slice_udrv_w_r1, via2, [(83.185,44.87,83.445,45.13)])
R(a44_tg8_slice_udrv_w_r1, via3, [(60.57,3.87,60.83,4.13), (61.07,23.87,61.33,24.13), (83.185,44.87,83.445,45.13), (61.07,65.87,61.33,66.13)])
R(a44_tg8_slice_udrv_w_r1, metal3, [(60.45,3.75,60.95,4.25), (0,9.7,0.6,10.3), (60.95,23.75,61.45,24.25), (83.065,44.75,83.565,45.25), (94.6,44.8,95,45.2), (60.95,65.75,61.45,66.25), (0,79.7,0.6,80.3), (60.45,86,60.95,86.75), (60.45,86.75,62.2,87), (60.7,87,62.2,87.25)])
R(a44_tg8_slice_udrv_w_r1, metal3_pin, [(0,9.7,0.6,10.3), (94.6,44.8,95,45.2), (0,79.7,0.6,80.3)])
R(a44_tg8_slice_udrv_w_r1, metal4, [(60.7,3.7,83.315,3.75), (60.45,3.75,83.315,4), (60.45,4,83.615,4.25), (60.7,4.25,83.615,4.3), (83.015,4.3,83.615,45), (60.7,23.7,61.2,23.75), (60.7,23.75,61.45,24), (60.4,24,61.45,24.25), (60.4,24.25,61.2,24.3), (60.4,24.3,61,32), (83.065,45,83.565,45.25), (60.4,56,61,65.7), (60.4,65.7,61.2,65.75), (60.4,65.75,61.45,66), (60.7,66,61.45,66.25), (60.7,66.25,61.2,66.3)])
a44_tg8_slice_udrv_w_r1.add(gdstk.Reference(a44_tgclk_driver_udrv_w_, (61,0)))
a44_tg8_slice_udrv_w_r1.add(gdstk.Reference(a44_tg8_core_w_r2, (0,0)))
a44_tg8_slice_udrv_w_r1.add(gdstk.Label('CLKS', (94.8,45), layer=42, texttype=10))
a44_tg8_slice_udrv_w_r1.add(gdstk.Label('VOUT', (0.3,80), layer=42, texttype=10))
a44_tg8_slice_udrv_w_r1.add(gdstk.Label('VIN', (0.3,10), layer=42, texttype=10))
a44_tg8_slice_udrv_w_r1.add(gdstk.Label('VDD', (94.7,87), layer=36, texttype=10))
a44_tg8_slice_udrv_w_r1.add(gdstk.Label('GND', (94.7,45), layer=36, texttype=10))

lib.write_gds('A44_TG8_SLICE_UDRV_W_R1.gds')
